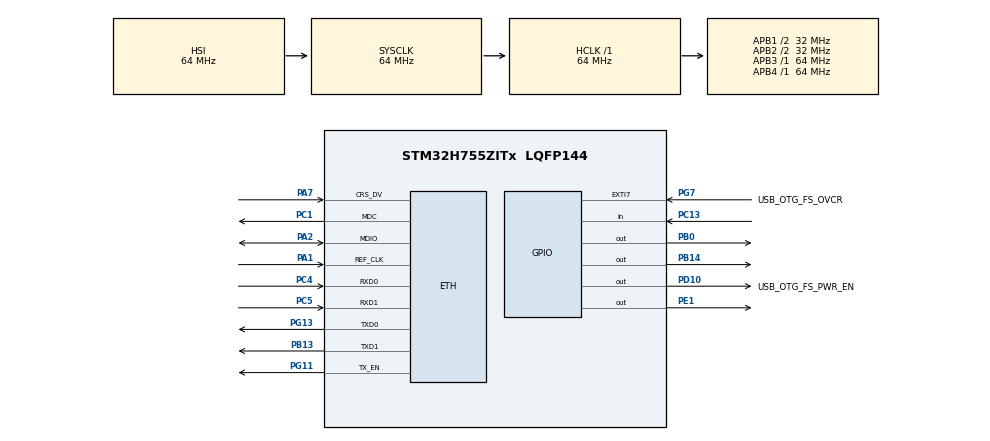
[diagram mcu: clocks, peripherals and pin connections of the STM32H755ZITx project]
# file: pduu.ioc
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CORTEX_M4.AccessPermission-Cortex_Memory_Protection_Unit_Region0_Settings=MPU_REGION_PRIV_RO
CORTEX_M4.BaseAddress-Cortex_Memory_Protection_Unit_Region0_Settings=0x08100000
CORTEX_M4.Enable-Cortex_Memory_Protection_Unit_Region0_Settings=MPU_REGION_ENABLE
CORTEX_M4.MPU_Control=MPU_PRIVILEGED_DEFAULT
CORTEX_M4.Size-Cortex_Memory_Protection_Unit_Region0_Settings=MPU_REGION_SIZE_1MB
CORTEX_M4.TypeExtField-Cortex_Memory_Protection_Unit_Region0_Settings=MPU_TEX_LEVEL1
CORTEX_M7.AccessPermission_S-Cortex_Memory_Protection_Unit_Region1_Settings_S=MPU_REGION_PRIV_RO
CORTEX_M7.AccessPermission_S-Cortex_Memory_Protection_Unit_Region2_Settings_S=MPU_REGION_FULL_ACCESS
CORTEX_M7.AccessPermission_S-Cortex_Memory_Protection_Unit_Region3_Settings_S=MPU_REGION_FULL_ACCESS
CORTEX_M7.BaseAddress_S-Cortex_Memory_Protection_Unit_Region1_Settings_S=0x08000000
CORTEX_M7.BaseAddress_S-Cortex_Memory_Protection_Unit_Region2_Settings_S=0x30020000
CORTEX_M7.BaseAddress_S-Cortex_Memory_Protection_Unit_Region3_Settings_S=0x30000000
CORTEX_M7.CPU_DCache=Enabled
CORTEX_M7.CPU_ICache=Enabled
CORTEX_M7.DisableExec_S-Cortex_Memory_Protection_Unit_Region2_Settings_S=MPU_INSTRUCTION_ACCESS_DISABLE
CORTEX_M7.DisableExec_S-Cortex_Memory_Protection_Unit_Region3_Settings_S=MPU_INSTRUCTION_ACCESS_DISABLE
CORTEX_M7.Enable_S-Cortex_Memory_Protection_Unit_Region1_Settings_S=MPU_REGION_ENABLE
CORTEX_M7.Enable_S-Cortex_Memory_Protection_Unit_Region2_Settings_S=MPU_REGION_ENABLE
CORTEX_M7.Enable_S-Cortex_Memory_Protection_Unit_Region3_Settings_S=MPU_REGION_ENABLE
CORTEX_M7.IsBufferable_S-Cortex_Memory_Protection_Unit_Region3_Settings_S=MPU_ACCESS_BUFFERABLE
CORTEX_M7.IsCacheable_S-Cortex_Memory_Protection_Unit_Region1_Settings_S=MPU_ACCESS_CACHEABLE
CORTEX_M7.IsShareable_S-Cortex_Memory_Protection_Unit_Region3_Settings_S=MPU_ACCESS_SHAREABLE
CORTEX_M7.Size_S-Cortex_Memory_Protection_Unit_Region1_Settings_S=MPU_REGION_SIZE_1MB
CORTEX_M7.Size_S-Cortex_Memory_Protection_Unit_Region2_Settings_S=MPU_REGION_SIZE_256KB
CORTEX_M7.Size_S-Cortex_Memory_Protection_Unit_Region3_Settings_S=MPU_REGION_SIZE_512B
CORTEX_M7.TypeExtField_S-Cortex_Memory_Protection_Unit_Region1_Settings_S=MPU_TEX_LEVEL1
CORTEX_M7.TypeExtField_S-Cortex_Memory_Protection_Unit_Region2_Settings_S=MPU_TEX_LEVEL1
CORTEX_M7.default_mode_Activation=1
CortexM4.IPs=FATFS_M4\:I,FREERTOS_M4\:I,IWDG2\:I,RCC,WWDG2\:I,DMA,BDMA,MDMA,NVIC2\:I,USART3,DEBUG,PDM2PCM_M4\:I,PWR,RESMGR_UTILITY,SYS_M4\:I,USB_DEVICE_M4\:I,USB_HOST_M4\:I,CORTEX_M4\:I,GPIO,OPENAMP_M4\:I,VREFBUF,NUCLEO-H755ZI-Q,TIM6\:I
CortexM7.IPs=FATFS_M7\:I,FREERTOS_M7\:I,IWDG1\:I,RCC\:I,WWDG1\:I,DMA\:I,BDMA\:I,MDMA\:I,NVIC1\:I,ETH\:I,USART3\:I,USB_OTG_FS\:I,SYS\:I,CORTEX_M7\:I,DEBUG\:I,PDM2PCM_M7\:I,PWR\:I,RESMGR_UTILITY\:I,USB_DEVICE_M7\:I,USB_HOST_M7\:I,GPIO\:I,OPENAMP_M7\:I,VREFBUF\:I,NUCLEO-H755ZI-Q\:I,MEMORYMAP\:I,TIM7\:I,LWIP\:I
ETH.MediaInterface=HAL_ETH_RMII_MODE
ETH.RxBufferAddress=0x30000200
ETH.TxDescAddress=0x30000100
FREERTOS_M7.Tasks01=defaultTask,0,1024,StartDefaultTask,Default,NULL,Dynamic,NULL,NULL
FREERTOS_M7.configUSE_NEWLIB_REENTRANT=1
LWIP.BSP.number=1
LWIP.GATEWAY_ADDRESS=010.001.000.001
LWIP.IP_ADDRESS=010.001.000.153
LWIP.LWIP_DHCP=1
LWIP.LWIP_DNS=1
LWIP.LWIP_NETIF_STATUS_CALLBACK=1
LWIP.LWIP_RAM_HEAP_POINTER=0x30020000
LWIP.NETMASK_ADDRESS=255.255.254.000
LWIP.Version=v2.1.2_Cube
LWIP0.BSP.STBoard=false
LWIP0.BSP.api=BSP_COMPONENT_DRIVER
LWIP0.BSP.component=LAN8742
LWIP0.BSP.instance=LAN8742
LWIP0.BSP.name=Driver_PHY
LWIP0.BSP.semaphore=S_LAN8742
LWIP0.BSP.solution=LAN8742
Mcu.Family=STM32H7
Mcu.Name=STM32H755ZITx
Mcu.Package=LQFP144
NUCLEO-H755ZI-Q.BUTTON=1
NUCLEO-H755ZI-Q.LD1=true
NUCLEO-H755ZI-Q.LD2=true
NUCLEO-H755ZI-Q.LD3=true
NUCLEO-H755ZI-Q.VCP=true
NVIC1.ETH_IRQn=true\:5\:0\:false\:false\:true\:true\:true\:true\:true
NVIC1.EXTI15_10_IRQn=true\:5\:0\:false\:false\:true\:true\:false\:true\:true
NVIC1.PriorityGroup=NVIC_PRIORITYGROUP_4
NVIC1.TIM7_IRQn=true\:15\:0\:false\:false\:true\:false\:false\:true\:true
NVIC1.TimeBase=TIM7_IRQn
NVIC1.TimeBaseIP=TIM7
NVIC2.PriorityGroup=NVIC_PRIORITYGROUP_4
NVIC2.TIM6_DAC_IRQn=true\:15\:0\:false\:false\:true\:false\:true\:true
NVIC2.TimeBase=TIM6_DAC_IRQn
NVIC2.TimeBaseIP=TIM6
PA1.GPIO_Speed=GPIO_SPEED_FREQ_VERY_HIGH
PA1.Mode=RMII
PA1.PinAttribute=CortexM7
PA1.Signal=ETH_REF_CLK
PA11.PinAttribute=CortexM7
PA11.Signal=USB_OTG_FS_DM
PA12.PinAttribute=CortexM7
PA12.Signal=USB_OTG_FS_DP
PA2.GPIO_Speed=GPIO_SPEED_FREQ_VERY_HIGH
PA2.Mode=RMII
PA2.PinAttribute=CortexM7
PA2.Signal=ETH_MDIO
PA7.GPIO_Speed=GPIO_SPEED_FREQ_VERY_HIGH
PA7.Mode=RMII
PA7.PinAttribute=CortexM7
PA7.Signal=ETH_CRS_DV
PA9.PinAttribute=CortexM7
PA9.Signal=USB_OTG_FS_VBUS
PB0.Signal=GPIO_Output
PB13.GPIO_Speed=GPIO_SPEED_FREQ_VERY_HIGH
PB13.Mode=RMII
PB13.PinAttribute=CortexM7
PB13.Signal=ETH_TXD1
PB14.Signal=GPIO_Output
PC1.Mode=RMII
PC1.PinAttribute=CortexM7
PC1.Signal=ETH_MDC
PC13.Signal=GPIO_Input
PC14-OSC32_IN\ (OSC32_IN).Mode=LSE-External-Oscillator
PC14-OSC32_IN\ (OSC32_IN).PinAttribute=Free
PC14-OSC32_IN\ (OSC32_IN).Signal=RCC_OSC32_IN
PC15-OSC32_OUT\ (OSC32_OUT).Mode=LSE-External-Oscillator
PC15-OSC32_OUT\ (OSC32_OUT).PinAttribute=Free
PC15-OSC32_OUT\ (OSC32_OUT).Signal=RCC_OSC32_OUT
PC4.GPIO_Speed=GPIO_SPEED_FREQ_VERY_HIGH
PC4.Mode=RMII
PC4.PinAttribute=CortexM7
PC4.Signal=ETH_RXD0
PC5.GPIO_Speed=GPIO_SPEED_FREQ_VERY_HIGH
PC5.Mode=RMII
PC5.PinAttribute=CortexM7
PC5.Signal=ETH_RXD1
PD10.GPIO_Label=USB_OTG_FS_PWR_EN
PD10.PinAttribute=Free
PD10.Signal=GPIO_Output
PD8.Signal=USART3_TX
PD9.Signal=USART3_RX
PE1.Signal=GPIO_Output
PG11.GPIO_Speed=GPIO_SPEED_FREQ_VERY_HIGH
PG11.Mode=RMII
PG11.PinAttribute=CortexM7
PG11.Signal=ETH_TX_EN
PG13.GPIO_Speed=GPIO_SPEED_FREQ_VERY_HIGH
PG13.Mode=RMII
PG13.PinAttribute=CortexM7
PG13.Signal=ETH_TXD0
PG7.GPIO_Label=USB_OTG_FS_OVCR
PG7.PinAttribute=Free
PG7.Signal=GPXTI7
PH0-OSC_IN\ (PH0).Mode=HSE-External-Clock-Source
PH0-OSC_IN\ (PH0).PinAttribute=Free
PH0-OSC_IN\ (PH0).Signal=RCC_OSC_IN
PH1-OSC_OUT\ (PH1).PinAttribute=Free
PH1-OSC_OUT\ (PH1).Signal=RCC_OSC_OUT
ProjectManager.HeapSize=M4-0x200,M7-0x200
ProjectManager.StackSize=M4-0x400,M7-0x400
ProjectManager.TargetToolchain=STM32CubeIDE
RCC.ADCFreq_Value=80000000
RCC.APB1Freq_Value=32000000
RCC.APB2Freq_Value=32000000
RCC.APB3Freq_Value=64000000
RCC.APB4Freq_Value=64000000
RCC.CortexFreq_Value=64000000
RCC.D2PPRE1=RCC_APB1_DIV2
RCC.D2PPRE2=RCC_APB2_DIV2
RCC.DIVM1=4
RCC.DIVM2=4
RCC.DIVN1=10
RCC.DIVN2=10
RCC.DIVQ1=5
RCC.HCLKFreq_Value=64000000
RCC.PLL2FRACN=0
RCC.PLL3FRACN=0
RCC.PLLFRACN=0
RCC.SYSCLKFreq_VALUE=64000000
RCC.SupplySource=PWR_DIRECT_SMPS_SUPPLY
RCC.USBFreq_Value=32000000
VP_FREERTOS_M7_VS_CMSIS_V1.Mode=CMSIS_V1
VP_LWIP_VS_Enabled.Mode=Enabled
VP_MEMORYMAP_VS_MEMORYMAP.Mode=CurAppReg
VP_NUCLEO-H755ZI-Q_VS_BSP_COMMON.Mode=COMMON
VP_SYS_M4_VS_tim6.Mode=TIM6
VP_SYS_VS_tim7.Mode=TIM7
board=NUCLEO-H755ZI-Q

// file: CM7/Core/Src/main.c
/* USER CODE BEGIN Header */
/**
  ******************************************************************************
  * @file           : main.c
  * @brief          : Main program body
  ******************************************************************************
  * @attention
  *
  * Copyright (c) 2025 STMicroelectronics.
  * All rights reserved.
  *
  * This software is licensed under terms that can be found in the LICENSE file
  * in the root directory of this software component.
  * If no LICENSE file comes with this software, it is provided AS-IS.
  *
  ******************************************************************************
  */
/* USER CODE END Header */
#include "main.h"
#include "cmsis_os.h"
#include "lwip.h"

/* USER CODE BEGIN PD */

#ifndef HSEM_ID_0
#define HSEM_ID_0 (0U) /* HW semaphore 0*/
#endif

/* USER CODE END PD */

COM_InitTypeDef BspCOMInit;

osThreadId defaultTaskHandle;
/* USER CODE BEGIN PV */
extern struct netif gnetif;
/* USER CODE END PV */

void SystemClock_Config(void);
static void MPU_Config(void);
static void MX_GPIO_Init(void);
void StartDefaultTask(void const * argument);

/* USER CODE BEGIN 0 */
/*void MakeIPStatic(void)
{
  ip4_addr_t assigned_ip = *netif_ip4_addr(&gnetif);
  ip4_addr_t assigned_netmask = *netif_ip4_netmask(&gnetif);
  ip4_addr_t assigned_gw = *netif_ip4_gw(&gnetif);

  /* Stop DHCP client */
 /* dhcp_stop(&gnetif);*/

  /* Configure the interface with the assigned IP, netmask, and gateway */
  /*netif_set_down(&gnetif);
  netif_set_addr(&gnetif, &assigned_ip, &assigned_netmask, &assigned_gw);
  netif_set_up(&gnetif);

  printf("DHCP IP is now Static: %s\n", ip4addr_ntoa(netif_ip4_addr(&gnetif)));
}*/

/* USER CODE END 0 */

int main(void)
{

/* USER CODE BEGIN Boot_Mode_Sequence_0 */
  int32_t timeout;
/* USER CODE END Boot_Mode_Sequence_0 */

  /* MPU Configuration--------------------------------------------------------*/
  MPU_Config();

  /* Enable the CPU Cache */

  /* Enable I-Cache---------------------------------------------------------*/
  SCB_EnableICache();

  /* Enable D-Cache---------------------------------------------------------*/
  SCB_EnableDCache();

/* USER CODE BEGIN Boot_Mode_Sequence_1 */
  /* Wait until CPU2 boots and enters in stop mode or timeout*/
  timeout = 0xFFFF;
  while((__HAL_RCC_GET_FLAG(RCC_FLAG_D2CKRDY) != RESET) && (timeout-- > 0));
  if ( timeout < 0 )
  {
  Error_Handler();
  }
/* USER CODE END Boot_Mode_Sequence_1 */
  /* MCU Configuration--------------------------------------------------------*/

  /* Reset of all peripherals, Initializes the Flash interface and the Systick. */
  HAL_Init();

  /* Configure the system clock */
  SystemClock_Config();
/* USER CODE BEGIN Boot_Mode_Sequence_2 */
/* When system initialization is finished, Cortex-M7 will release Cortex-M4 by means of
HSEM notification */
/*HW semaphore Clock enable*/
__HAL_RCC_HSEM_CLK_ENABLE();
/*Take HSEM */
HAL_HSEM_FastTake(HSEM_ID_0);
/*Release HSEM in order to notify the CPU2(CM4)*/
HAL_HSEM_Release(HSEM_ID_0,0);
/* wait until CPU2 wakes up from stop mode */
timeout = 0xFFFF;
while((__HAL_RCC_GET_FLAG(RCC_FLAG_D2CKRDY) == RESET) && (timeout-- > 0));
if ( timeout < 0 )
{
Error_Handler();
}
/* USER CODE END Boot_Mode_Sequence_2 */

  /* Initialize all configured peripherals */
  MX_GPIO_Init();

  /* Create the thread(s) */
  /* definition and creation of defaultTask */
  osThreadDef(defaultTask, StartDefaultTask, osPriorityNormal, 0, 1024);
  defaultTaskHandle = osThreadCreate(osThread(defaultTask), NULL);

  /* Initialize leds */
  BSP_LED_Init(LED_GREEN);
  BSP_LED_Init(LED_YELLOW);
  BSP_LED_Init(LED_RED);

  /* Initialize USER push-button, will be used to trigger an interrupt each time it's pressed.*/
  BSP_PB_Init(BUTTON_USER, BUTTON_MODE_EXTI);

  /* Initialize COM1 port (115200, 8 bits (7-bit data + 1 stop bit), no parity */
  BspCOMInit.BaudRate   = 115200;
  BspCOMInit.WordLength = COM_WORDLENGTH_8B;
  BspCOMInit.StopBits   = COM_STOPBITS_1;
  BspCOMInit.Parity     = COM_PARITY_NONE;
  BspCOMInit.HwFlowCtl  = COM_HWCONTROL_NONE;
  if (BSP_COM_Init(COM1, &BspCOMInit) != BSP_ERROR_NONE)
  {
    Error_Handler();
  }

  /* Start scheduler */
  osKernelStart();

  /* We should never get here as control is now taken by the scheduler */

  /* Infinite loop */
  while (1)
  {

  }
}

void SystemClock_Config(void)
{
  RCC_OscInitTypeDef RCC_OscInitStruct = {0};
  RCC_ClkInitTypeDef RCC_ClkInitStruct = {0};

  /** Supply configuration update enable
  */
  HAL_PWREx_ConfigSupply(PWR_DIRECT_SMPS_SUPPLY);

  /** Configure the main internal regulator output voltage
  */
  __HAL_PWR_VOLTAGESCALING_CONFIG(PWR_REGULATOR_VOLTAGE_SCALE3);

  while(!__HAL_PWR_GET_FLAG(PWR_FLAG_VOSRDY)) {}

  /** Initializes the RCC Oscillators according to the specified parameters
  * in the RCC_OscInitTypeDef structure.
  */
  RCC_OscInitStruct.OscillatorType = RCC_OSCILLATORTYPE_HSI;
  RCC_OscInitStruct.HSIState = RCC_HSI_DIV1;
  RCC_OscInitStruct.HSICalibrationValue = RCC_HSICALIBRATION_DEFAULT;
  RCC_OscInitStruct.PLL.PLLState = RCC_PLL_NONE;
  if (HAL_RCC_OscConfig(&RCC_OscInitStruct) != HAL_OK)
  {
    Error_Handler();
  }

  /** Initializes the CPU, AHB and APB buses clocks
  */
  RCC_ClkInitStruct.ClockType = RCC_CLOCKTYPE_HCLK|RCC_CLOCKTYPE_SYSCLK
                              |RCC_CLOCKTYPE_PCLK1|RCC_CLOCKTYPE_PCLK2
                              |RCC_CLOCKTYPE_D3PCLK1|RCC_CLOCKTYPE_D1PCLK1;
  RCC_ClkInitStruct.SYSCLKSource = RCC_SYSCLKSOURCE_HSI;
  RCC_ClkInitStruct.SYSCLKDivider = RCC_SYSCLK_DIV1;
  RCC_ClkInitStruct.AHBCLKDivider = RCC_HCLK_DIV1;
  RCC_ClkInitStruct.APB3CLKDivider = RCC_APB3_DIV1;
  RCC_ClkInitStruct.APB1CLKDivider = RCC_APB1_DIV2;
  RCC_ClkInitStruct.APB2CLKDivider = RCC_APB2_DIV2;
  RCC_ClkInitStruct.APB4CLKDivider = RCC_APB4_DIV1;

  if (HAL_RCC_ClockConfig(&RCC_ClkInitStruct, FLASH_LATENCY_1) != HAL_OK)
  {
    Error_Handler();
  }
}

static void MX_GPIO_Init(void)
{
  GPIO_InitTypeDef GPIO_InitStruct = {0};

  /* GPIO Ports Clock Enable */
  __HAL_RCC_GPIOC_CLK_ENABLE();
  __HAL_RCC_GPIOA_CLK_ENABLE();
  __HAL_RCC_GPIOB_CLK_ENABLE();
  __HAL_RCC_GPIOG_CLK_ENABLE();

  /*Configure GPIO pins : PA11 PA12 */
  GPIO_InitStruct.Pin = GPIO_PIN_11|GPIO_PIN_12;
  GPIO_InitStruct.Mode = GPIO_MODE_AF_PP;
  GPIO_InitStruct.Pull = GPIO_NOPULL;
  GPIO_InitStruct.Speed = GPIO_SPEED_FREQ_LOW;
  GPIO_InitStruct.Alternate = GPIO_AF10_OTG1_FS;
  HAL_GPIO_Init(GPIOA, &GPIO_InitStruct);

}

void StartDefaultTask(void const * argument)
{
  /* init code for LWIP */
  MX_LWIP_Init();
  /* USER CODE BEGIN 5 */
  osDelay(1000);
  /* Infinite loop */
  for(;;)
  {

	  if (netif_is_link_up(&gnetif)) {
	     	     printf("Ethernet link is up\r\n");
	     	 } else {
	     	     printf("Ethernet link is down\r\n");
	     	 }

	     	 printf("Current IP: %s\r\n", ipaddr_ntoa(&gnetif.ip_addr));

	     	 if (dhcp_supplied_address(&gnetif)) {
	     	 		        printf("IP Address: %s\r\n", ipaddr_ntoa(&gnetif.ip_addr));
	     	 		        printf("Netmask: %s\r\n", ipaddr_ntoa(&gnetif.netmask));
	     	 		        printf("Gateway: %s\r\n", ipaddr_ntoa(&gnetif.gw));
	     	 		       osDelay(1000);

	     	 		    } else {
	     	 		        printf("DHCP not ready or failed.\r\n");
	     	 		    }

    osDelay(100);
  }
  /* USER CODE END 5 */
}

 /* MPU Configuration */

void MPU_Config(void)
{
  MPU_Region_InitTypeDef MPU_InitStruct = {0};

  /* Disables the MPU */
  HAL_MPU_Disable();

  /** Initializes and configures the Region and the memory to be protected
  */
  MPU_InitStruct.Enable = MPU_REGION_ENABLE;
  MPU_InitStruct.Number = MPU_REGION_NUMBER0;
  MPU_InitStruct.BaseAddress = 0x0;
  MPU_InitStruct.Size = MPU_REGION_SIZE_4GB;
  MPU_InitStruct.SubRegionDisable = 0x87;
  MPU_InitStruct.TypeExtField = MPU_TEX_LEVEL0;
  MPU_InitStruct.AccessPermission = MPU_REGION_NO_ACCESS;
  MPU_InitStruct.DisableExec = MPU_INSTRUCTION_ACCESS_DISABLE;
  MPU_InitStruct.IsShareable = MPU_ACCESS_SHAREABLE;
  MPU_InitStruct.IsCacheable = MPU_ACCESS_NOT_CACHEABLE;
  MPU_InitStruct.IsBufferable = MPU_ACCESS_NOT_BUFFERABLE;

  HAL_MPU_ConfigRegion(&MPU_InitStruct);

  /** Initializes and configures the Region and the memory to be protected
  */
  MPU_InitStruct.Number = MPU_REGION_NUMBER1;
  MPU_InitStruct.BaseAddress = 0x08000000;
  MPU_InitStruct.Size = MPU_REGION_SIZE_1MB;
  MPU_InitStruct.SubRegionDisable = 0x0;
  MPU_InitStruct.TypeExtField = MPU_TEX_LEVEL1;
  MPU_InitStruct.AccessPermission = MPU_REGION_PRIV_RO;
  MPU_InitStruct.DisableExec = MPU_INSTRUCTION_ACCESS_ENABLE;
  MPU_InitStruct.IsShareable = MPU_ACCESS_NOT_SHAREABLE;
  MPU_InitStruct.IsCacheable = MPU_ACCESS_CACHEABLE;

  HAL_MPU_ConfigRegion(&MPU_InitStruct);

  /** Initializes and configures the Region and the memory to be protected
  */
  MPU_InitStruct.Number = MPU_REGION_NUMBER2;
  MPU_InitStruct.BaseAddress = 0x30020000;
  MPU_InitStruct.Size = MPU_REGION_SIZE_256KB;
  MPU_InitStruct.AccessPermission = MPU_REGION_FULL_ACCESS;
  MPU_InitStruct.DisableExec = MPU_INSTRUCTION_ACCESS_DISABLE;
  MPU_InitStruct.IsCacheable = MPU_ACCESS_NOT_CACHEABLE;

  HAL_MPU_ConfigRegion(&MPU_InitStruct);

  /** Initializes and configures the Region and the memory to be protected
  */
  MPU_InitStruct.Number = MPU_REGION_NUMBER3;
  MPU_InitStruct.BaseAddress = 0x30000000;
  MPU_InitStruct.Size = MPU_REGION_SIZE_512B;
  MPU_InitStruct.TypeExtField = MPU_TEX_LEVEL0;
  MPU_InitStruct.IsShareable = MPU_ACCESS_SHAREABLE;
  MPU_InitStruct.IsBufferable = MPU_ACCESS_BUFFERABLE;

  HAL_MPU_ConfigRegion(&MPU_InitStruct);
  /* Enables the MPU */
  HAL_MPU_Enable(MPU_PRIVILEGED_DEFAULT);

}

void HAL_TIM_PeriodElapsedCallback(TIM_HandleTypeDef *htim)
{
  if (htim->Instance == TIM7)
  {
    HAL_IncTick();
  }
}

void Error_Handler(void)
{
  __disable_irq();
  while (1)
  {
  }
}
